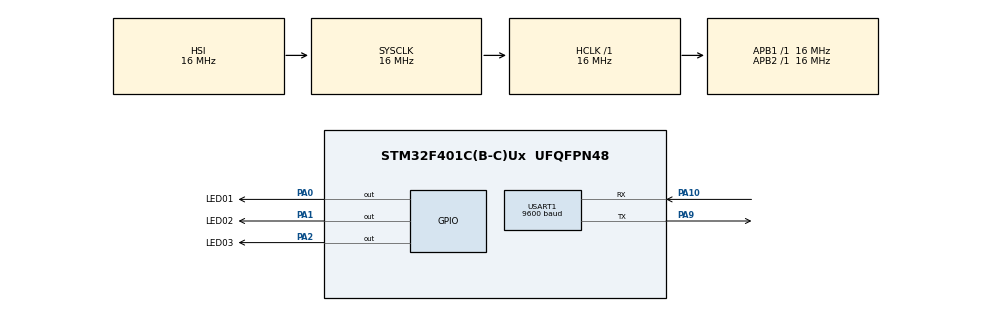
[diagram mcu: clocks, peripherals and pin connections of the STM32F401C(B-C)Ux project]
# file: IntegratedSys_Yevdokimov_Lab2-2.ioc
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Mcu.Family=STM32F4
Mcu.Name=STM32F401C(B-C)Ux
Mcu.Package=UFQFPN48
NVIC.PriorityGroup=NVIC_PRIORITYGROUP_4
NVIC.USART1_IRQn=true\:0\:0\:false\:false\:true\:true\:true\:true
PA0-WKUP.GPIO_Label=LED01
PA0-WKUP.Signal=GPIO_Output
PA1.GPIO_Label=LED02
PA1.Signal=GPIO_Output
PA10.Mode=Asynchronous
PA10.Signal=USART1_RX
PA13.Mode=Serial_Wire
PA13.Signal=SYS_JTMS-SWDIO
PA14.Mode=Serial_Wire
PA14.Signal=SYS_JTCK-SWCLK
PA2.GPIO_Label=LED03
PA2.Signal=GPIO_Output
PA9.Mode=Asynchronous
PA9.Signal=USART1_TX
ProjectManager.HeapSize=0x200
ProjectManager.StackSize=0x400
ProjectManager.TargetToolchain=STM32CubeIDE
RCC.AHBFreq_Value=16000000
RCC.APB1Freq_Value=16000000
RCC.APB2Freq_Value=16000000
RCC.CortexFreq_Value=16000000
RCC.HSE_VALUE=25000000
RCC.HSI_VALUE=16000000
RCC.LSE_VALUE=32768
RCC.SYSCLKFreq_VALUE=16000000
RCC.VCOOutputFreq_Value=192000000
USART1.BaudRate=9600
USART1.VirtualMode=VM_ASYNC
board=custom

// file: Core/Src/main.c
/* USER CODE BEGIN Header */
/**
  ******************************************************************************
  * @file           : main.c
  * @brief          : Main program body
  ******************************************************************************
  * @attention
  *
  * Copyright (c) 2023 STMicroelectronics.
  * All rights reserved.
  *
  * This software is licensed under terms that can be found in the LICENSE file
  * in the root directory of this software component.
  * If no LICENSE file comes with this software, it is provided AS-IS.
  *
  ******************************************************************************
  */
/* USER CODE END Header */
#include "main.h"

/* USER CODE BEGIN Includes */
#include "ringbuffer.h"
#include "string.h"
/* USER CODE END Includes */

 UART_HandleTypeDef huart1;

/* USER CODE BEGIN PV */
 uint8_t rx1[1] = {'\0',};
 uint8_t tx1[1] = {'\0',};
 RingBuffer txBuf;
 uint8_t buffer[32];
 uint8_t l = 0;
/* USER CODE END PV */

void SystemClock_Config(void);
static void MX_GPIO_Init(void);
static void MX_USART1_UART_Init(void);

int main(void)
{

  /* MCU Configuration--------------------------------------------------------*/

  /* Reset of all peripherals, Initializes the Flash interface and the Systick. */
  HAL_Init();

  /* Configure the system clock */
  SystemClock_Config();

  /* Initialize all configured peripherals */
  MX_GPIO_Init();
  MX_USART1_UART_Init();

  /* Infinite loop */
  /* USER CODE BEGIN WHILE */
  HAL_UART_Receive_IT(&huart1, rx1, sizeof(rx1));
  while (1)
  {
    /* USER CODE END WHILE */

    /* USER CODE BEGIN 3 */
	if(huart1.RxState == HAL_UART_STATE_READY)
	{
		HAL_UART_Receive_IT(&huart1, rx1, sizeof(rx1));
	}
  }
  /* USER CODE END 3 */
}

void SystemClock_Config(void)
{
  RCC_OscInitTypeDef RCC_OscInitStruct = {0};
  RCC_ClkInitTypeDef RCC_ClkInitStruct = {0};

  /** Configure the main internal regulator output voltage
  */
  __HAL_RCC_PWR_CLK_ENABLE();
  __HAL_PWR_VOLTAGESCALING_CONFIG(PWR_REGULATOR_VOLTAGE_SCALE2);

  /** Initializes the RCC Oscillators according to the specified parameters
  * in the RCC_OscInitTypeDef structure.
  */
  RCC_OscInitStruct.OscillatorType = RCC_OSCILLATORTYPE_HSI;
  RCC_OscInitStruct.HSIState = RCC_HSI_ON;
  RCC_OscInitStruct.HSICalibrationValue = RCC_HSICALIBRATION_DEFAULT;
  RCC_OscInitStruct.PLL.PLLState = RCC_PLL_NONE;
  if (HAL_RCC_OscConfig(&RCC_OscInitStruct) != HAL_OK)
  {
    Error_Handler();
  }

  /** Initializes the CPU, AHB and APB buses clocks
  */
  RCC_ClkInitStruct.ClockType = RCC_CLOCKTYPE_HCLK|RCC_CLOCKTYPE_SYSCLK
                              |RCC_CLOCKTYPE_PCLK1|RCC_CLOCKTYPE_PCLK2;
  RCC_ClkInitStruct.SYSCLKSource = RCC_SYSCLKSOURCE_HSI;
  RCC_ClkInitStruct.AHBCLKDivider = RCC_SYSCLK_DIV1;
  RCC_ClkInitStruct.APB1CLKDivider = RCC_HCLK_DIV1;
  RCC_ClkInitStruct.APB2CLKDivider = RCC_HCLK_DIV1;

  if (HAL_RCC_ClockConfig(&RCC_ClkInitStruct, FLASH_LATENCY_0) != HAL_OK)
  {
    Error_Handler();
  }
}

static void MX_USART1_UART_Init(void)
{

  huart1.Instance = USART1;
  huart1.Init.BaudRate = 9600;
  huart1.Init.WordLength = UART_WORDLENGTH_8B;
  huart1.Init.StopBits = UART_STOPBITS_1;
  huart1.Init.Parity = UART_PARITY_NONE;
  huart1.Init.Mode = UART_MODE_TX_RX;
  huart1.Init.HwFlowCtl = UART_HWCONTROL_NONE;
  huart1.Init.OverSampling = UART_OVERSAMPLING_16;
  if (HAL_UART_Init(&huart1) != HAL_OK)
  {
    Error_Handler();
  }

}

static void MX_GPIO_Init(void)
{
  GPIO_InitTypeDef GPIO_InitStruct = {0};

  /* GPIO Ports Clock Enable */
  __HAL_RCC_GPIOA_CLK_ENABLE();

  /*Configure GPIO pin Output Level */
  HAL_GPIO_WritePin(GPIOA, LED01_Pin|LED02_Pin|LED03_Pin, GPIO_PIN_RESET);

  /*Configure GPIO pins : LED01_Pin LED02_Pin LED03_Pin */
  GPIO_InitStruct.Pin = LED01_Pin|LED02_Pin|LED03_Pin;
  GPIO_InitStruct.Mode = GPIO_MODE_OUTPUT_PP;
  GPIO_InitStruct.Pull = GPIO_NOPULL;
  GPIO_InitStruct.Speed = GPIO_SPEED_FREQ_LOW;
  HAL_GPIO_Init(GPIOA, &GPIO_InitStruct);

}

/* USER CODE BEGIN 4 */
void HAL_UART_TxCpltCallback(UART_HandleTypeDef *huart)
{
	if(huart == &huart1)
	{
		tx1[0] = '\0';

		if(RingBuffer_GetDataLength(&txBuf) > 0)
		{
			RingBuffer_Read(&txBuf, tx1, 1);
			HAL_UART_Transmit_IT(huart, tx1, 1);
		}
	}
}

void HAL_UART_RxCpltCallback(UART_HandleTypeDef *huart)
{
	if(huart == &huart1) {
		tx1[0] = rx1[0];

		if(HAL_UART_Transmit_IT(&huart1, tx1, sizeof(tx1)) != HAL_OK) {
			if(RingBuffer_Write(&txBuf, tx1, sizeof(tx1)) != RING_BUFFER_OK) { }
		}

		if(rx1[0] != '\r' && l < 30) {
			buffer[l] = rx1[0];
			l++;
		}
		else {
			if(strncmp(buffer, "led01 on", sizeof("led01 on") -1) == 0) {
				HAL_GPIO_WritePin(LED01_GPIO_Port, LED01_Pin, GPIO_PIN_SET);
				if(HAL_UART_Transmit_IT(&huart1, (uint8_t *)"led01 is ON\r\n", sizeof("led01 is ON\r\n")) != HAL_OK) {
					if(RingBuffer_Write(&txBuf, (uint8_t *)"led01 is ON\r\n", sizeof("led01 is ON\r\n")) != RING_BUFFER_OK) { }
				}
			}
			else if(strncmp(buffer, "led01 off", sizeof("led01 off") -1) == 0) {
				HAL_GPIO_WritePin(LED01_GPIO_Port, LED01_Pin, GPIO_PIN_RESET);
				if(HAL_UART_Transmit_IT(&huart1, (uint8_t *)"led01 is OFF\r\n", sizeof("led01 is OFF\r\n")) != HAL_OK) {
					if(RingBuffer_Write(&txBuf, (uint8_t *)"led01 is OFF\r\n", sizeof("led01 is OFF\r\n")) != RING_BUFFER_OK) { }
				}
			}
			else if(strncmp(buffer, "led02 on", sizeof("led02 on") -1) == 0) {
				HAL_GPIO_WritePin(LED02_GPIO_Port, LED02_Pin, GPIO_PIN_SET);
				if(HAL_UART_Transmit_IT(&huart1, (uint8_t *)"led02 is ON\r\n", sizeof("led02 is ON\r\n")) != HAL_OK) {
					if(RingBuffer_Write(&txBuf, (uint8_t *)"led02 is ON\r\n", sizeof("led02 is ON\r\n")) != RING_BUFFER_OK) { }
				}
			}
			else if(strncmp(buffer, "led02 off", sizeof("led02 off") -1) == 0) {
				HAL_GPIO_WritePin(LED02_GPIO_Port, LED02_Pin, GPIO_PIN_RESET);
				if(HAL_UART_Transmit_IT(&huart1, (uint8_t *)"led02 is OFF\r\n", sizeof("led02 is OFF\r\n")) != HAL_OK) {
					if(RingBuffer_Write(&txBuf, (uint8_t *)"led02 is OFF\r\n", sizeof("led02 is OFF\r\n")) != RING_BUFFER_OK) { }
				}
			}
			else if(strncmp(buffer, "led03 on", sizeof("led03 on") -1) == 0) {
				HAL_GPIO_WritePin(LED03_GPIO_Port, LED03_Pin, GPIO_PIN_SET);
				if(HAL_UART_Transmit_IT(&huart1, (uint8_t *)"led03 is ON\r\n", sizeof("led03 is ON\r\n")) != HAL_OK) {
					if(RingBuffer_Write(&txBuf, (uint8_t *)"led03 is ON\r\n", sizeof("led03 is ON\r\n")) != RING_BUFFER_OK) { }
				}
			}
			else if(strncmp(buffer, "led03 off", sizeof("led03 off") -1) == 0) {
				HAL_GPIO_WritePin(LED03_GPIO_Port, LED03_Pin, GPIO_PIN_RESET);
				if(HAL_UART_Transmit_IT(&huart1, (uint8_t *)"led03 is OFF\r\n", sizeof("led03 is OFF\r\n")) != HAL_OK) {
					if(RingBuffer_Write(&txBuf, (uint8_t *)"led03 is OFF\r\n", sizeof("led03 is OFF\r\n")) != RING_BUFFER_OK) { }
				}
			}
			memset(buffer, 0, sizeof(buffer));
			l = 0;
			HAL_UART_Transmit_IT(&huart1, "\n\r", sizeof("\n\r"));
		}
		HAL_UART_Receive_IT(&huart1, rx1, sizeof(rx1));
	}
}
/* USER CODE END 4 */

void Error_Handler(void)
{
  __disable_irq();
  while (1)
  {
  }
}
